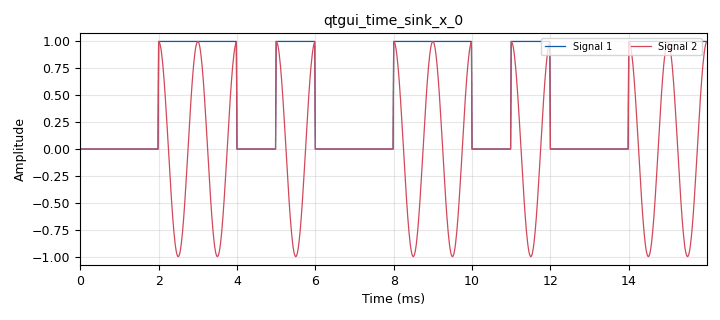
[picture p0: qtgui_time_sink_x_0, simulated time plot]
options:
  parameters:
    generate_options: qt_gui
    id: ook
    output_language: python
    title: Not titled yet
  states: {}

blocks:
- name: freq
  id: variable_qtgui_range
  parameters:
    start: '-10000'
    step: '1'
    stop: '10000'
    value: '1000'
  states: {}
- name: samp_rate
  id: variable
  parameters:
    value: '64000'
  states: {}
- name: sas
  id: variable
  parameters:
    value: '64'
  states: {}
- name: analog_sig_source_x_0
  id: analog_sig_source_x
  parameters:
    amp: '1'
    freq: freq
    offset: '0'
    phase: '0'
    samp_rate: samp_rate
    type: float
    waveform: analog.GR_COS_WAVE
  states: {}
- name: blocks_multiply_xx_0
  id: blocks_multiply_xx
  parameters:
    type: float
  states: {}
- name: blocks_repeat_0
  id: blocks_repeat
  parameters:
    interp: sas
    type: float
  states: {}
- name: blocks_throttle2_0
  id: blocks_throttle2
  parameters:
    samples_per_second: samp_rate
    type: float
  states: {}
- name: blocks_vector_source_x_0
  id: blocks_vector_source_x
  parameters:
    repeat: 'True'
    type: float
    vector: (1, 0, 0, 1, 1, 0)
  states: {}
- name: qtgui_time_sink_x_0
  id: qtgui_time_sink_x
  parameters:
    nconnections: '2'
    size: '1024'
    srate: samp_rate
    type: float
  states: {}

connections:
- [analog_sig_source_x_0, '0', blocks_multiply_xx_0, '1']
- [blocks_multiply_xx_0, '0', blocks_throttle2_0, '0']
- [blocks_repeat_0, '0', blocks_multiply_xx_0, '0']
- [blocks_repeat_0, '0', qtgui_time_sink_x_0, '0']
- [blocks_throttle2_0, '0', qtgui_time_sink_x_0, '1']
- [blocks_vector_source_x_0, '0', blocks_repeat_0, '0']

metadata:
  file_format: 1
  grc_version: 3.10.12.0
